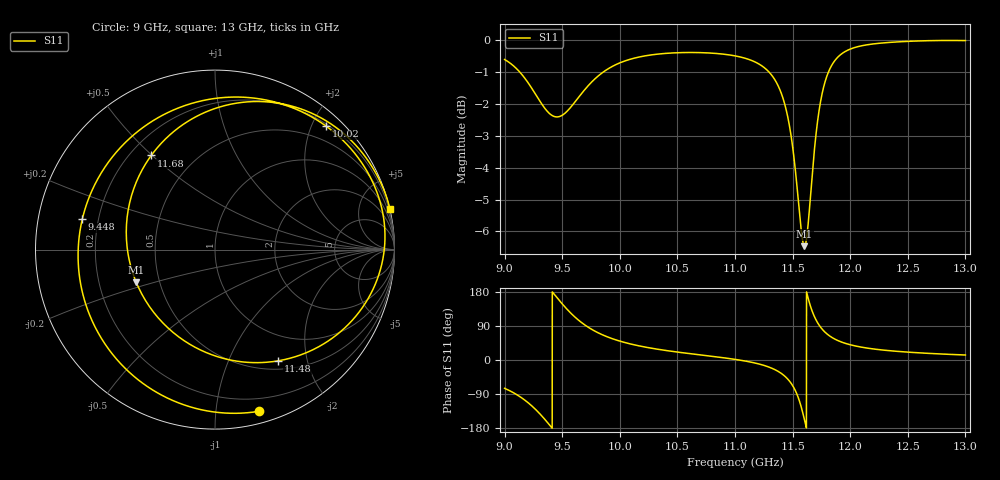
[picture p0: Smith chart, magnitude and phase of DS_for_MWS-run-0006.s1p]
! TOUCHSTONE file generated by CST DESIGN STUDIO
! Date and time: Tue Feb  4 16:42:38 2025
! Project name: C:\Work\MatlabApps\UnitCellOptimizationMatlab\CST\unitcell.cst
! Tree item: Tasks\Sweep1\SPara1\S-Parameters
! Header version: 2024
! Port assignment regex: !\s*Touchstone port\s*([0-9]+)\s*=\s*(CST MWS port|CST DES external port|CST DES block port)\s*(.+)\s* \(\"(.*)\"\)(\s*mode\s*([0-9]+))?.*
! Touchstone port assignment:
! Touchstone port 1 = CST DES external port 1 ("")
# GHz S MA R 50
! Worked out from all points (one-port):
!   4001 points, 9 GHz to 13 GHz, reference 50 ohm
!   lowest |S11| = -6.5 dB at 11.6 GHz (marker M1), VSWR 2.81, Z = 18.4 - j8.62 ohm
!   |S11| at or under -10 dB: nowhere
!   S11 on the Smith chart (normalised r, x): 9 GHz: 0.09, -1.30; 9.448 GHz: 0.14, +0.11; 10.02 GHz: 0.23, +2.22; 11.48 GHz: 0.61, -1.54; 11.68 GHz: 0.28, +0.50; 13 GHz: 0.01, +8.65
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9  0.9336 -74.8
9.128  0.8936 -95.8
9.229  0.845 -119.2
9.35  0.7821 -157.0
9.448  0.7585 167.1
9.5  0.7631 148.2
9.593  0.7931 118.2
9.692  0.8355 93.4
9.839  0.8874 67.9
10  0.9222 49.9
10.021  0.9254 48.0
10.227  0.9464 33.7
10.5  0.9567 20.9
11  0.9459 1.7
11.324  0.8795 -22.3
11.414  0.8142 -38.1
11.485  0.712 -60.6
11.5  0.6814 -67.4
11.554  0.5499 -103.4
11.603  0.4752 -157.5
11.638  0.5219 159.7
11.676  0.6334 124.1
11.719  0.752 97.3
11.77  0.8459 76.9
11.868  0.9306 54.9
12  0.9693 40.3
12.5  0.9969 20.8
13  0.9997 13.2
